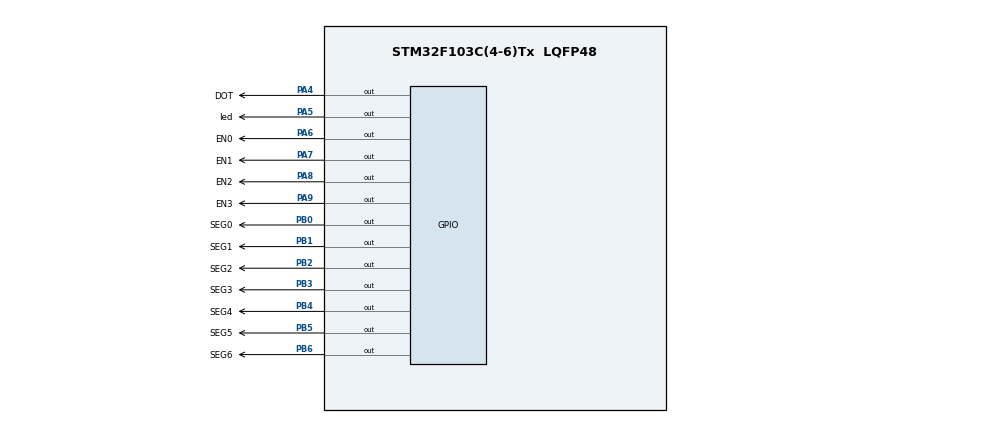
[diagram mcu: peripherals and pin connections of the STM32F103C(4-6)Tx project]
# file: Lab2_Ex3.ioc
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Mcu.Family=STM32F1
Mcu.Name=STM32F103C(4-6)Tx
Mcu.Package=LQFP48
NVIC.PriorityGroup=NVIC_PRIORITYGROUP_4
NVIC.TIM2_IRQn=true\:0\:0\:false\:false\:true\:true\:true
PA4.GPIO_Label=DOT
PA4.Signal=GPIO_Output
PA5.GPIO_Label=led
PA5.Signal=GPIO_Output
PA6.GPIO_Label=EN0
PA6.Signal=GPIO_Output
PA7.GPIO_Label=EN1
PA7.Signal=GPIO_Output
PA8.GPIO_Label=EN2
PA8.Signal=GPIO_Output
PA9.GPIO_Label=EN3
PA9.Signal=GPIO_Output
PB0.GPIO_Label=SEG0
PB0.Signal=GPIO_Output
PB1.GPIO_Label=SEG1
PB1.Signal=GPIO_Output
PB2.GPIO_Label=SEG2
PB2.Signal=GPIO_Output
PB3.GPIO_Label=SEG3
PB3.Signal=GPIO_Output
PB4.GPIO_Label=SEG4
PB4.Signal=GPIO_Output
PB5.GPIO_Label=SEG5
PB5.Signal=GPIO_Output
PB6.GPIO_Label=SEG6
PB6.Signal=GPIO_Output
ProjectManager.HeapSize=0x200
ProjectManager.StackSize=0x400
ProjectManager.TargetToolchain=STM32CubeIDE
RCC.APB1Freq_Value=8000000
RCC.APB2Freq_Value=8000000
TIM2.Period=9
TIM2.Prescaler=7999
VP_SYS_VS_ND.Mode=No_Debug
VP_TIM2_VS_ClockSourceINT.Mode=Internal
board=custom

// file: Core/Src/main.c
/* USER CODE BEGIN Header */
/**
  ******************************************************************************
  * @file           : main.c
  * @brief          : Main program body
  ******************************************************************************
  * @attention
  *
  * <h2><center>&copy; Copyright (c) 2021 STMicroelectronics.
  * All rights reserved.</center></h2>
  *
  * This software component is licensed by ST under BSD 3-Clause license,
  * the "License"; You may not use this file except in compliance with the
  * License. You may obtain a copy of the License at:
  *                        opensource.org/licenses/BSD-3-Clause
  *
  ******************************************************************************
  */
/* USER CODE END Header */
#include "main.h"

TIM_HandleTypeDef htim2;

void SystemClock_Config(void);
static void MX_GPIO_Init(void);
static void MX_TIM2_Init(void);

/* USER CODE BEGIN 0 */
void display7SEG(int num){
	switch(num){
	case 0:
		HAL_GPIO_WritePin(SEG0_GPIO_Port, SEG0_Pin, GPIO_PIN_RESET);
		HAL_GPIO_WritePin(SEG1_GPIO_Port, SEG1_Pin, GPIO_PIN_RESET);
		HAL_GPIO_WritePin(SEG2_GPIO_Port, SEG2_Pin, GPIO_PIN_RESET);
		HAL_GPIO_WritePin(SEG3_GPIO_Port, SEG3_Pin, GPIO_PIN_RESET);
		HAL_GPIO_WritePin(SEG4_GPIO_Port, SEG4_Pin, GPIO_PIN_RESET);
		HAL_GPIO_WritePin(SEG5_GPIO_Port, SEG5_Pin, GPIO_PIN_RESET);
		HAL_GPIO_WritePin(SEG6_GPIO_Port, SEG6_Pin, GPIO_PIN_SET);
		break;
	case 1:
		HAL_GPIO_WritePin(SEG0_GPIO_Port, SEG0_Pin, GPIO_PIN_SET);
		HAL_GPIO_WritePin(SEG1_GPIO_Port, SEG1_Pin, GPIO_PIN_RESET);
		HAL_GPIO_WritePin(SEG2_GPIO_Port, SEG2_Pin, GPIO_PIN_RESET);
		HAL_GPIO_WritePin(SEG3_GPIO_Port, SEG3_Pin, GPIO_PIN_SET);
		HAL_GPIO_WritePin(SEG4_GPIO_Port, SEG4_Pin, GPIO_PIN_SET);
		HAL_GPIO_WritePin(SEG5_GPIO_Port, SEG5_Pin, GPIO_PIN_SET);
		HAL_GPIO_WritePin(SEG6_GPIO_Port, SEG6_Pin, GPIO_PIN_SET);
		break;
	case 2:
		HAL_GPIO_WritePin(SEG0_GPIO_Port, SEG0_Pin, GPIO_PIN_RESET);
		HAL_GPIO_WritePin(SEG1_GPIO_Port, SEG1_Pin, GPIO_PIN_RESET);
		HAL_GPIO_WritePin(SEG2_GPIO_Port, SEG2_Pin, GPIO_PIN_SET);
		HAL_GPIO_WritePin(SEG3_GPIO_Port, SEG3_Pin, GPIO_PIN_RESET);
		HAL_GPIO_WritePin(SEG4_GPIO_Port, SEG4_Pin, GPIO_PIN_RESET);
		HAL_GPIO_WritePin(SEG5_GPIO_Port, SEG5_Pin, GPIO_PIN_SET);
		HAL_GPIO_WritePin(SEG6_GPIO_Port, SEG6_Pin, GPIO_PIN_RESET);
		break;
	case 3:
		HAL_GPIO_WritePin(SEG0_GPIO_Port, SEG0_Pin, GPIO_PIN_RESET);
		HAL_GPIO_WritePin(SEG1_GPIO_Port, SEG1_Pin, GPIO_PIN_RESET);
		HAL_GPIO_WritePin(SEG2_GPIO_Port, SEG2_Pin, GPIO_PIN_RESET);
		HAL_GPIO_WritePin(SEG3_GPIO_Port, SEG3_Pin, GPIO_PIN_RESET);
		HAL_GPIO_WritePin(SEG4_GPIO_Port, SEG4_Pin, GPIO_PIN_SET);
		HAL_GPIO_WritePin(SEG5_GPIO_Port, SEG5_Pin, GPIO_PIN_SET);
		HAL_GPIO_WritePin(SEG6_GPIO_Port, SEG6_Pin, GPIO_PIN_RESET);
		break;
	case 4:
		HAL_GPIO_WritePin(SEG0_GPIO_Port, SEG0_Pin, GPIO_PIN_SET);
		HAL_GPIO_WritePin(SEG1_GPIO_Port, SEG1_Pin, GPIO_PIN_RESET);
		HAL_GPIO_WritePin(SEG2_GPIO_Port, SEG2_Pin, GPIO_PIN_RESET);
		HAL_GPIO_WritePin(SEG3_GPIO_Port, SEG3_Pin, GPIO_PIN_SET);
		HAL_GPIO_WritePin(SEG4_GPIO_Port, SEG4_Pin, GPIO_PIN_SET);
		HAL_GPIO_WritePin(SEG5_GPIO_Port, SEG5_Pin, GPIO_PIN_RESET);
		HAL_GPIO_WritePin(SEG6_GPIO_Port, SEG6_Pin, GPIO_PIN_RESET);
		break;
	case 5:
		HAL_GPIO_WritePin(SEG0_GPIO_Port, SEG0_Pin, GPIO_PIN_RESET);
		HAL_GPIO_WritePin(SEG1_GPIO_Port, SEG1_Pin, GPIO_PIN_SET);
		HAL_GPIO_WritePin(SEG2_GPIO_Port, SEG2_Pin, GPIO_PIN_RESET);
		HAL_GPIO_WritePin(SEG3_GPIO_Port, SEG3_Pin, GPIO_PIN_RESET);
		HAL_GPIO_WritePin(SEG4_GPIO_Port, SEG4_Pin, GPIO_PIN_SET);
		HAL_GPIO_WritePin(SEG5_GPIO_Port, SEG5_Pin, GPIO_PIN_RESET);
		HAL_GPIO_WritePin(SEG6_GPIO_Port, SEG6_Pin, GPIO_PIN_RESET);
		break;
	case 6:
		HAL_GPIO_WritePin(SEG0_GPIO_Port, SEG0_Pin, GPIO_PIN_RESET);
		HAL_GPIO_WritePin(SEG1_GPIO_Port, SEG1_Pin, GPIO_PIN_SET);
		HAL_GPIO_WritePin(SEG2_GPIO_Port, SEG2_Pin, GPIO_PIN_RESET);
		HAL_GPIO_WritePin(SEG3_GPIO_Port, SEG3_Pin, GPIO_PIN_RESET);
		HAL_GPIO_WritePin(SEG4_GPIO_Port, SEG4_Pin, GPIO_PIN_RESET);
		HAL_GPIO_WritePin(SEG5_GPIO_Port, SEG5_Pin, GPIO_PIN_RESET);
		HAL_GPIO_WritePin(SEG6_GPIO_Port, SEG6_Pin, GPIO_PIN_RESET);
		break;
	case 7:
		HAL_GPIO_WritePin(SEG0_GPIO_Port, SEG0_Pin, GPIO_PIN_RESET);
		HAL_GPIO_WritePin(SEG1_GPIO_Port, SEG1_Pin, GPIO_PIN_RESET);
		HAL_GPIO_WritePin(SEG2_GPIO_Port, SEG2_Pin, GPIO_PIN_RESET);
		HAL_GPIO_WritePin(SEG3_GPIO_Port, SEG3_Pin, GPIO_PIN_SET);
		HAL_GPIO_WritePin(SEG4_GPIO_Port, SEG4_Pin, GPIO_PIN_SET);
		HAL_GPIO_WritePin(SEG5_GPIO_Port, SEG5_Pin, GPIO_PIN_SET);
		HAL_GPIO_WritePin(SEG6_GPIO_Port, SEG6_Pin, GPIO_PIN_SET);
		break;
	case 8:
		HAL_GPIO_WritePin(SEG0_GPIO_Port, SEG0_Pin, GPIO_PIN_RESET);
		HAL_GPIO_WritePin(SEG1_GPIO_Port, SEG1_Pin, GPIO_PIN_RESET);
		HAL_GPIO_WritePin(SEG2_GPIO_Port, SEG2_Pin, GPIO_PIN_RESET);
		HAL_GPIO_WritePin(SEG3_GPIO_Port, SEG3_Pin, GPIO_PIN_RESET);
		HAL_GPIO_WritePin(SEG4_GPIO_Port, SEG4_Pin, GPIO_PIN_RESET);
		HAL_GPIO_WritePin(SEG5_GPIO_Port, SEG5_Pin, GPIO_PIN_RESET);
		HAL_GPIO_WritePin(SEG6_GPIO_Port, SEG6_Pin, GPIO_PIN_RESET);
		break;
	case 9:
			HAL_GPIO_WritePin(SEG0_GPIO_Port, SEG0_Pin, GPIO_PIN_RESET);
			HAL_GPIO_WritePin(SEG1_GPIO_Port, SEG1_Pin, GPIO_PIN_RESET);
			HAL_GPIO_WritePin(SEG2_GPIO_Port, SEG2_Pin, GPIO_PIN_RESET);
			HAL_GPIO_WritePin(SEG3_GPIO_Port, SEG3_Pin, GPIO_PIN_RESET);
			HAL_GPIO_WritePin(SEG4_GPIO_Port, SEG4_Pin, GPIO_PIN_SET);
			HAL_GPIO_WritePin(SEG5_GPIO_Port, SEG5_Pin, GPIO_PIN_RESET);
			HAL_GPIO_WritePin(SEG6_GPIO_Port, SEG6_Pin, GPIO_PIN_RESET);
			break;
	}

}
const int MAX_LED = 4;
 int index_led = 0;
 int led_buffer [4] = {1 , 2 , 3 , 4};
 void update7SEG ( int index ) {
 switch ( index ) {
	 case 0:
	 // Display the first 7 SEG with led_buffer [0]
		 HAL_GPIO_WritePin(EN0_GPIO_Port, EN0_Pin,  GPIO_PIN_RESET);
		 HAL_GPIO_WritePin(EN1_GPIO_Port, EN1_Pin,  GPIO_PIN_SET);
		 HAL_GPIO_WritePin(EN1_GPIO_Port, EN2_Pin,  GPIO_PIN_SET);
		 HAL_GPIO_WritePin(EN1_GPIO_Port, EN3_Pin,  GPIO_PIN_SET);
		 display7SEG(led_buffer[0]);
		 break ;
	 case 1:
	 // Display the second 7 SEG with led_buffer [1]
		 HAL_GPIO_WritePin(EN0_GPIO_Port, EN0_Pin,  GPIO_PIN_SET);
		 HAL_GPIO_WritePin(EN1_GPIO_Port, EN1_Pin,  GPIO_PIN_RESET);
		 HAL_GPIO_WritePin(EN1_GPIO_Port, EN2_Pin,  GPIO_PIN_SET);
		 HAL_GPIO_WritePin(EN1_GPIO_Port, EN3_Pin,  GPIO_PIN_SET);
		 display7SEG(led_buffer[1]);
		 break ;
	 case 2:
	 // Display the third 7 SEG with led_buffer [2]
		 HAL_GPIO_WritePin(EN0_GPIO_Port, EN0_Pin,  GPIO_PIN_SET);
		 HAL_GPIO_WritePin(EN1_GPIO_Port, EN1_Pin,  GPIO_PIN_SET);
		 HAL_GPIO_WritePin(EN1_GPIO_Port, EN2_Pin,  GPIO_PIN_RESET);
		 HAL_GPIO_WritePin(EN1_GPIO_Port, EN3_Pin,  GPIO_PIN_SET);
		 display7SEG(led_buffer[2]);
		 break ;
	 case 3:
	 // Display the forth 7 SEG with led_buffer [3]
		 HAL_GPIO_WritePin(EN0_GPIO_Port, EN0_Pin,  GPIO_PIN_SET);
		 HAL_GPIO_WritePin(EN1_GPIO_Port, EN1_Pin,  GPIO_PIN_SET);
		 HAL_GPIO_WritePin(EN1_GPIO_Port, EN2_Pin,  GPIO_PIN_SET);
		 HAL_GPIO_WritePin(EN1_GPIO_Port, EN3_Pin,  GPIO_PIN_RESET);
		 display7SEG(led_buffer[3]);
		 break ;
	 default :
		 break ;
	 }
 }

/* USER CODE END 0 */

int main(void)
{

  /* MCU Configuration--------------------------------------------------------*/

  /* Reset of all peripherals, Initializes the Flash interface and the Systick. */
  HAL_Init();

  /* Configure the system clock */
  SystemClock_Config();

  /* Initialize all configured peripherals */
  MX_GPIO_Init();
  MX_TIM2_Init();
  /* USER CODE BEGIN 2 */
  HAL_TIM_Base_Start_IT(&htim2);
  /* USER CODE END 2 */

  /* Infinite loop */
  while (1)
  {

  }
}

void SystemClock_Config(void)
{
  RCC_OscInitTypeDef RCC_OscInitStruct = {0};
  RCC_ClkInitTypeDef RCC_ClkInitStruct = {0};

  /** Initializes the RCC Oscillators according to the specified parameters
  * in the RCC_OscInitTypeDef structure.
  */
  RCC_OscInitStruct.OscillatorType = RCC_OSCILLATORTYPE_HSI;
  RCC_OscInitStruct.HSIState = RCC_HSI_ON;
  RCC_OscInitStruct.HSICalibrationValue = RCC_HSICALIBRATION_DEFAULT;
  RCC_OscInitStruct.PLL.PLLState = RCC_PLL_NONE;
  if (HAL_RCC_OscConfig(&RCC_OscInitStruct) != HAL_OK)
  {
    Error_Handler();
  }
  /** Initializes the CPU, AHB and APB buses clocks
  */
  RCC_ClkInitStruct.ClockType = RCC_CLOCKTYPE_HCLK|RCC_CLOCKTYPE_SYSCLK
                              |RCC_CLOCKTYPE_PCLK1|RCC_CLOCKTYPE_PCLK2;
  RCC_ClkInitStruct.SYSCLKSource = RCC_SYSCLKSOURCE_HSI;
  RCC_ClkInitStruct.AHBCLKDivider = RCC_SYSCLK_DIV1;
  RCC_ClkInitStruct.APB1CLKDivider = RCC_HCLK_DIV1;
  RCC_ClkInitStruct.APB2CLKDivider = RCC_HCLK_DIV1;

  if (HAL_RCC_ClockConfig(&RCC_ClkInitStruct, FLASH_LATENCY_0) != HAL_OK)
  {
    Error_Handler();
  }
}

static void MX_TIM2_Init(void)
{

  TIM_ClockConfigTypeDef sClockSourceConfig = {0};
  TIM_MasterConfigTypeDef sMasterConfig = {0};

  htim2.Instance = TIM2;
  htim2.Init.Prescaler = 7999;
  htim2.Init.CounterMode = TIM_COUNTERMODE_UP;
  htim2.Init.Period = 9;
  htim2.Init.ClockDivision = TIM_CLOCKDIVISION_DIV1;
  htim2.Init.AutoReloadPreload = TIM_AUTORELOAD_PRELOAD_DISABLE;
  if (HAL_TIM_Base_Init(&htim2) != HAL_OK)
  {
    Error_Handler();
  }
  sClockSourceConfig.ClockSource = TIM_CLOCKSOURCE_INTERNAL;
  if (HAL_TIM_ConfigClockSource(&htim2, &sClockSourceConfig) != HAL_OK)
  {
    Error_Handler();
  }
  sMasterConfig.MasterOutputTrigger = TIM_TRGO_RESET;
  sMasterConfig.MasterSlaveMode = TIM_MASTERSLAVEMODE_DISABLE;
  if (HAL_TIMEx_MasterConfigSynchronization(&htim2, &sMasterConfig) != HAL_OK)
  {
    Error_Handler();
  }

}

static void MX_GPIO_Init(void)
{
  GPIO_InitTypeDef GPIO_InitStruct = {0};

  /* GPIO Ports Clock Enable */
  __HAL_RCC_GPIOA_CLK_ENABLE();
  __HAL_RCC_GPIOB_CLK_ENABLE();

  /*Configure GPIO pin Output Level */
  HAL_GPIO_WritePin(GPIOA, DOT_Pin|led_Pin|EN0_Pin|EN1_Pin
                          |EN2_Pin|EN3_Pin, GPIO_PIN_RESET);

  /*Configure GPIO pin Output Level */
  HAL_GPIO_WritePin(GPIOB, SEG0_Pin|SEG1_Pin|SEG2_Pin|SEG3_Pin
                          |SEG4_Pin|SEG5_Pin|SEG6_Pin, GPIO_PIN_RESET);

  /*Configure GPIO pins : DOT_Pin led_Pin EN0_Pin EN1_Pin
                           EN2_Pin EN3_Pin */
  GPIO_InitStruct.Pin = DOT_Pin|led_Pin|EN0_Pin|EN1_Pin
                          |EN2_Pin|EN3_Pin;
  GPIO_InitStruct.Mode = GPIO_MODE_OUTPUT_PP;
  GPIO_InitStruct.Pull = GPIO_NOPULL;
  GPIO_InitStruct.Speed = GPIO_SPEED_FREQ_LOW;
  HAL_GPIO_Init(GPIOA, &GPIO_InitStruct);

  /*Configure GPIO pins : SEG0_Pin SEG1_Pin SEG2_Pin SEG3_Pin
                           SEG4_Pin SEG5_Pin SEG6_Pin */
  GPIO_InitStruct.Pin = SEG0_Pin|SEG1_Pin|SEG2_Pin|SEG3_Pin
                          |SEG4_Pin|SEG5_Pin|SEG6_Pin;
  GPIO_InitStruct.Mode = GPIO_MODE_OUTPUT_PP;
  GPIO_InitStruct.Pull = GPIO_NOPULL;
  GPIO_InitStruct.Speed = GPIO_SPEED_FREQ_LOW;
  HAL_GPIO_Init(GPIOB, &GPIO_InitStruct);

}

/* USER CODE BEGIN 4 */
int counterLed = 100;
int countSEG = 25;
 void HAL_TIM_PeriodElapsedCallback ( TIM_HandleTypeDef * htim )
{
	counterLed--;
	 if( counterLed <= 0) {
		 counterLed = 100;
		 HAL_GPIO_TogglePin ( led_GPIO_Port , led_Pin ) ;
		 HAL_GPIO_TogglePin ( DOT_GPIO_Port , DOT_Pin ) ;
	 }
	 countSEG--;
	 if( countSEG <= 0) {
		 countSEG = 25;
		 update7SEG(index_led++);
		 if(index_led>3) index_led = 0;
	 }

}
/* USER CODE END 4 */

void Error_Handler(void)
{
  __disable_irq();
  while (1)
  {
  }
}

/************************ (C) COPYRIGHT STMicroelectronics *****END OF FILE****/
